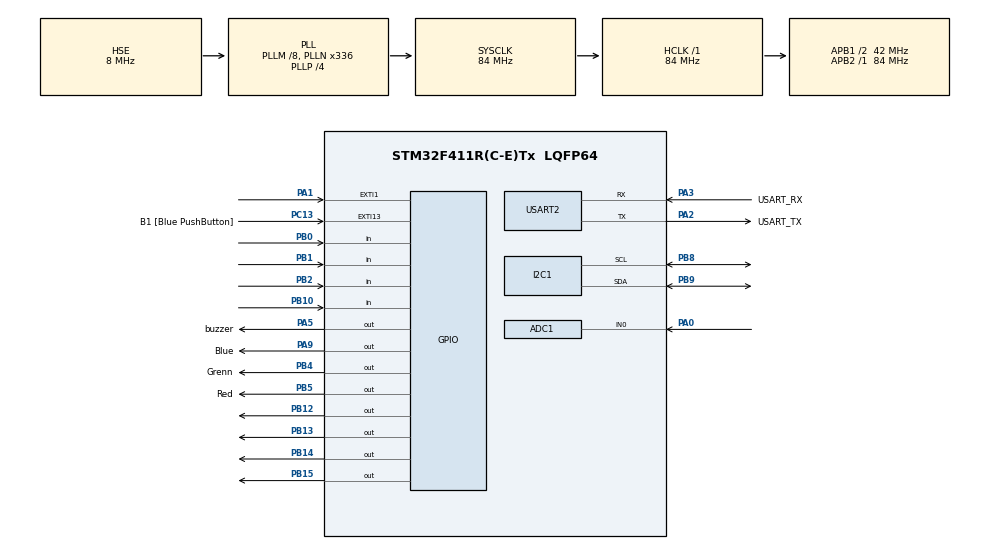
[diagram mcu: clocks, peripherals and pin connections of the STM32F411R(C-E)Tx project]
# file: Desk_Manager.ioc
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ADC1.Channel-0\#ChannelRegularConversion=ADC_CHANNEL_0
ADC1.NbrOfConversionFlag=1
ADC1.Rank-0\#ChannelRegularConversion=1
ADC1.SamplingTime-0\#ChannelRegularConversion=ADC_SAMPLETIME_3CYCLES
ADC1.master=1
FREERTOS.Mutexes01=lcdMutex,Dynamic,NULL,Available
FREERTOS.Tasks01=defaultTask,24,128,StartDefaultTask,Default,NULL,Dynamic,NULL,NULL;KeypadTask,8,128,StartTask02,Default,NULL,Dynamic,NULL,NULL;SensorTask,32,256,StartTask03,Default,NULL,Dynamic,NULL,NULL;TimerTask,40,128,StartTask04,Default,NULL,Dynamic,NULL,NULL;DisplayTask,8,256,StartTask05,Default,NULL,Dynamic,NULL,NULL;BuzzerTask,24,128,StartTask06,Default,NULL,Dynamic,NULL,NULL
FREERTOS.configUSE_NEWLIB_REENTRANT=1
Mcu.Family=STM32F4
Mcu.Name=STM32F411R(C-E)Tx
Mcu.Package=LQFP64
NVIC.EXTI1_IRQn=true\:5\:0\:false\:false\:true\:true\:true\:true\:true
NVIC.PriorityGroup=NVIC_PRIORITYGROUP_4
NVIC.TIM2_IRQn=true\:5\:0\:false\:false\:true\:true\:true\:true\:true
PA0-WKUP.Signal=ADCx_IN0
PA1.GPIO_ModeDefaultEXTI=GPIO_MODE_IT_FALLING
PA1.GPIO_PuPd=GPIO_PULLUP
PA1.Signal=GPXTI1
PA13.GPIO_Label=TMS
PA13.Mode=Serial_Wire
PA13.Signal=SYS_JTMS-SWDIO
PA14.GPIO_Label=TCK
PA14.Mode=Serial_Wire
PA14.Signal=SYS_JTCK-SWCLK
PA2.GPIO_Label=USART_TX
PA2.Mode=Asynchronous
PA2.Signal=USART2_TX
PA3.GPIO_Label=USART_RX
PA3.Mode=Asynchronous
PA3.Signal=USART2_RX
PA5.GPIO_Label=buzzer
PA5.Signal=GPIO_Output
PA9.GPIO_Label=Blue
PA9.Signal=GPIO_Output
PB0.GPIO_PuPd=GPIO_PULLUP
PB0.Signal=GPIO_Input
PB1.GPIO_PuPd=GPIO_PULLUP
PB1.Signal=GPIO_Input
PB10.GPIO_PuPd=GPIO_PULLUP
PB10.Signal=GPIO_Input
PB12.Signal=GPIO_Output
PB13.Signal=GPIO_Output
PB14.Signal=GPIO_Output
PB15.Signal=GPIO_Output
PB2.GPIO_PuPd=GPIO_PULLUP
PB2.Signal=GPIO_Input
PB3.GPIO_Label=SWO
PB3.Signal=SYS_JTDO-SWO
PB4.GPIO_Label=Grenn
PB4.Signal=GPIO_Output
PB5.GPIO_Label=Red
PB5.Signal=GPIO_Output
PB8.GPIO_Pu=GPIO_PULLUP
PB8.Mode=I2C
PB8.Signal=I2C1_SCL
PB9.GPIO_Pu=GPIO_PULLUP
PB9.Mode=I2C
PB9.Signal=I2C1_SDA
PC13-ANTI_TAMP.GPIO_Label=B1 [Blue PushButton]
PC13-ANTI_TAMP.GPIO_ModeDefaultEXTI=GPIO_MODE_IT_FALLING
PC13-ANTI_TAMP.Signal=GPXTI13
PC14-OSC32_IN.Mode=LSE-External-Oscillator
PC14-OSC32_IN.Signal=RCC_OSC32_IN
PC15-OSC32_OUT.Mode=LSE-External-Oscillator
PC15-OSC32_OUT.Signal=RCC_OSC32_OUT
PH0\ -\ OSC_IN.Mode=HSE-External-Oscillator
PH0\ -\ OSC_IN.Signal=RCC_OSC_IN
PH1\ -\ OSC_OUT.Mode=HSE-External-Oscillator
PH1\ -\ OSC_OUT.Signal=RCC_OSC_OUT
ProjectManager.HeapSize=0x200
ProjectManager.StackSize=0x400
ProjectManager.TargetToolchain=STM32CubeIDE
RCC.48MHZClocksFreq_Value=84000000
RCC.AHBFreq_Value=84000000
RCC.APB1CLKDivider=RCC_HCLK_DIV2
RCC.APB1Freq_Value=42000000
RCC.APB1TimFreq_Value=84000000
RCC.APB2Freq_Value=84000000
RCC.APB2TimFreq_Value=84000000
RCC.CortexFreq_Value=84000000
RCC.FLatency-AdvancedSettings=FLASH_LATENCY_2
RCC.HCLKFreq_Value=84000000
RCC.HSE_VALUE=8000000
RCC.HSI_VALUE=16000000
RCC.PLLM=8
RCC.PLLN=336
RCC.PLLP=RCC_PLLP_DIV4
RCC.PLLSourceVirtual=RCC_PLLSOURCE_HSE
RCC.SYSCLKFreq_VALUE=84000000
RCC.SYSCLKSource=RCC_SYSCLKSOURCE_PLLCLK
RCC.VCOOutputFreq_Value=336000000
SH.ADCx_IN0.0=ADC1_IN0,IN0
TIM2.AutoReloadPreload=TIM_AUTORELOAD_PRELOAD_ENABLE
TIM2.ClockDivision=TIM_CLOCKDIVISION_DIV2
TIM2.Period=9999
TIM2.Prescaler=8399
USART2.VirtualMode=VM_ASYNC
VP_FREERTOS_VS_CMSIS_V2.Mode=CMSIS_V2
VP_TIM2_VS_ClockSourceINT.Mode=Internal
board=NUCLEO-F411RE

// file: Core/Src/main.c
/* USER CODE BEGIN Header */
/**
  ******************************************************************************
  * @file           : main.c
  * @brief          : Improved Desk Manager - Main program body
  * @description    : ??? ???, ?? ??, ?? ?? ??? ??? ?? ?? ???
  ******************************************************************************
  * @attention
  *
  * Copyright (c) 2025 STMicroelectronics.
  * All rights reserved.
  *
  * This software is licensed under terms that can be found in the LICENSE file
  * in the root directory of this software component.
  * If no LICENSE file comes with this software, it is provided AS-IS.
  *
  ******************************************************************************
  */
/* USER CODE END Header */
#include "main.h"
#include "cmsis_os.h"

/* USER CODE BEGIN Includes */
#include "lcd_i2c.h"
#include "keypad.h"
#include <stdio.h>
#include <string.h>
#include <stdbool.h>
#include "FreeRTOS.h"
#include "event_groups.h"
/* USER CODE END Includes */

/* USER CODE BEGIN PTD */
// ?? ?? ??
typedef enum {
    ERROR_NONE = 0,         // ?? ??
    ERROR_ADC_FAILED,       // ADC ?? ??
    ERROR_LCD_FAILED,       // LCD ?? ??
    ERROR_INVALID_PARAM     // ??? ?? ??
} error_code_t;

// ?????? ?? ??
typedef enum {
	APP_STATE_INIT,
    APP_STATE_STOPPED,
    APP_STATE_RUNNING,
    APP_STATE_PAUSED,
    APP_STATE_FINISHED,
	APP_STATE_BREAK_RUNNING,
	APP_STATE_BREAK_PAUSED
} AppState_t;

// ?? ?? ?? (State Machine)
typedef enum {
    BUZZER_OFF = 0,         // ?? ??
    BUZZER_BEEPING,         // ?? ??? ?? ?
    BUZZER_ALARMING         // ?? ??? ?? ?
} buzzer_state_t;
/* USER CODE END PTD */

/* USER CODE BEGIN PD */
// ?? ??
#define LIGHT_THRESHOLD         2000  // ?? ?? ? (???? ? ???? ??)
#define ADC_TIMEOUT_MS          100   // ADC ????
#define LIGHT_SAMPLE_COUNT      5     // ?? ???? ?? ?? ?

// ??? ??
#define DEFAULT_STUDY_TIME_S    10  // ?? ?? ?? (25?)
#define DEFAULT_BREAK_TIME_S    10
#define SECONDS_PER_MINUTE      60    // 1? = 60?
#define DEBOUNCE_TIME_MS        500   // ???? ?? ??

// ?? ??
#define BUZZER_BEEP_DURATION_MS   100   // ??? ?? ??
#define BUZZER_ALARM_ON_TIME_MS   200   // ?? ON ??
#define BUZZER_ALARM_OFF_TIME_MS  200   // ?? OFF ??

// LCD ??
#define LCD_UPDATE_INTERVAL_MS  1000  // LCD ???? ??
#define LCD_LINE_LENGTH         16    // LCD ?? ??
#define NOISE_ALERT_DURATION_MS 1000  // ?? ?? ??? ?? ??

// ??? ??
#define KEYPAD_DEBOUNCE_TIME_MS 200   // ??? ???? ?? ????

#define RED_PIN      GPIO_PIN_5
#define GREEN_PIN    GPIO_PIN_4
#define BLUE_PIN     GPIO_PIN_9

#define MAX_INPUT_DIGITS 4
/* USER CODE END PD */

/* USER CODE BEGIN PM */
#define MINUTES_FROM_SECONDS(s) ((s) / SECONDS_PER_MINUTE)
#define SECONDS_REMAINDER(s)    ((s) % SECONDS_PER_MINUTE)
/* USER CODE END PM */

ADC_HandleTypeDef hadc1;

I2C_HandleTypeDef hi2c1;

TIM_HandleTypeDef htim2;

UART_HandleTypeDef huart2;

/* Definitions for defaultTask */
osThreadId_t defaultTaskHandle;
const osThreadAttr_t defaultTask_attributes = {
  .name = "defaultTask",
  .stack_size = 128 * 4,
  .priority = (osPriority_t) osPriorityNormal,
};
/* Definitions for KeypadTask */
osThreadId_t KeypadTaskHandle;
const osThreadAttr_t KeypadTask_attributes = {
  .name = "KeypadTask",
  .stack_size = 128 * 4,
  .priority = (osPriority_t) osPriorityLow,
};
/* Definitions for SensorTask */
osThreadId_t SensorTaskHandle;
const osThreadAttr_t SensorTask_attributes = {
  .name = "SensorTask",
  .stack_size = 256 * 4,
  .priority = (osPriority_t) osPriorityAboveNormal,
};
/* Definitions for TimerTask */
osThreadId_t TimerTaskHandle;
const osThreadAttr_t TimerTask_attributes = {
  .name = "TimerTask",
  .stack_size = 128 * 4,
  .priority = (osPriority_t) osPriorityHigh,
};
/* Definitions for DisplayTask */
osThreadId_t DisplayTaskHandle;
const osThreadAttr_t DisplayTask_attributes = {
  .name = "DisplayTask",
  .stack_size = 256 * 4,
  .priority = (osPriority_t) osPriorityLow,
};
/* Definitions for BuzzerTask */
osThreadId_t BuzzerTaskHandle;
const osThreadAttr_t BuzzerTask_attributes = {
  .name = "BuzzerTask",
  .stack_size = 128 * 4,
  .priority = (osPriority_t) osPriorityNormal,
};
/* Definitions for lcdMutex */
osMutexId_t lcdMutexHandle;
const osMutexAttr_t lcdMutex_attributes = {
  .name = "lcdMutex"
};
/* USER CODE BEGIN PV */
// ?? ?? ??
// --- ?????? ?? ?? ---
static volatile AppState_t  g_app_state = APP_STATE_INIT;
static volatile uint32_t    g_countdown_seconds = DEFAULT_STUDY_TIME_S;
static volatile uint32_t    g_light_value = 0;
static volatile bool        g_noise_interrupt_flag = false;
static volatile error_code_t g_last_error = ERROR_NONE;

// --- ?? ?? ?? ---
static volatile buzzer_state_t g_buzzer_state = BUZZER_OFF;
static volatile uint32_t       g_buzzer_timer = 0;

// --- UI ???? ?? ---
static volatile uint32_t g_last_lcd_update_time = 0;
static volatile bool     g_force_lcd_update = true;
static volatile bool     g_showing_noise_alert = false;
static volatile uint32_t g_noise_alert_start_time = 0;
extern EventGroupHandle_t SoundAlertEventGate;
#define BIT_SOUND_ALERT (1 << 0)
static char time_input_buffer[MAX_INPUT_DIGITS + 1] = {0};
static uint8_t input_index = 0;
static bool is_setting_time = false;
uint32_t user_set_time_sec = 0;
/* USER CODE END PV */

void SystemClock_Config(void);
static void MX_GPIO_Init(void);
static void MX_USART2_UART_Init(void);
static void MX_ADC1_Init(void);
static void MX_I2C1_Init(void);
static void MX_TIM2_Init(void);
void StartDefaultTask(void *argument);
void StartTask02(void *argument);
void StartTask03(void *argument);
void StartTask04(void *argument);
void StartTask05(void *argument);
void StartTask06(void *argument);

/* USER CODE BEGIN PFP */
uint32_t read_sound_level(void);
static void App_Init(void);
static void Handle_Display(void);

// --- ??? ?? ??? ---
static void Timer_Start(void);
static void Timer_Stop(void);
static void Timer_PauseResume(void);
static void Timer_Finish(void);

// --- ?? ?? ---
static void Buzzer_On(void);
static void Buzzer_Off(void);

// --- ?????(UI) ---
static void Display_TimerInfo(void);
static void Display_StatusInfo(void);
static void Clear_LcdLine(uint8_t line);
static uint32_t ParseTimeInput(const char* buffer);
/* USER CODE END PFP */

int main(void)
{

  /* MCU Configuration--------------------------------------------------------*/

  /* Reset of all peripherals, Initializes the Flash interface and the Systick. */
  HAL_Init();

  /* Configure the system clock */
  SystemClock_Config();

  /* Initialize all configured peripherals */
  MX_GPIO_Init();
  MX_USART2_UART_Init();
  MX_ADC1_Init();
  MX_I2C1_Init();
  MX_TIM2_Init();
  /* USER CODE BEGIN 2 */
  App_Init();

  /* USER CODE END 2 */

  /* Init scheduler */
  osKernelInitialize();
  /* Create the mutex(es) */
  /* creation of lcdMutex */
  lcdMutexHandle = osMutexNew(&lcdMutex_attributes);

  /* Create the thread(s) */
  /* creation of defaultTask */
  defaultTaskHandle = osThreadNew(StartDefaultTask, NULL, &defaultTask_attributes);

  /* creation of KeypadTask */
  KeypadTaskHandle = osThreadNew(StartTask02, NULL, &KeypadTask_attributes);

  /* creation of SensorTask */
  SensorTaskHandle = osThreadNew(StartTask03, NULL, &SensorTask_attributes);

  /* creation of TimerTask */
  TimerTaskHandle = osThreadNew(StartTask04, NULL, &TimerTask_attributes);

  /* creation of DisplayTask */
  DisplayTaskHandle = osThreadNew(StartTask05, NULL, &DisplayTask_attributes);

  /* creation of BuzzerTask */
  BuzzerTaskHandle = osThreadNew(StartTask06, NULL, &BuzzerTask_attributes);

  /* USER CODE BEGIN RTOS_EVENTS */
  /* add events, ... */
  MX_FREERTOS_Init();
  /* USER CODE END RTOS_EVENTS */

  /* Start scheduler */
  osKernelStart();

  /* We should never get here as control is now taken by the scheduler */

  /* Infinite loop */
  /* USER CODE BEGIN WHILE */
  while (1)
  {
    /* USER CODE BEGIN 3 */

    /* USER CODE END 3 */
  }
    /* USER CODE END WHILE */

}

void SystemClock_Config(void)
{
  RCC_OscInitTypeDef RCC_OscInitStruct = {0};
  RCC_ClkInitTypeDef RCC_ClkInitStruct = {0};

  /** Configure the main internal regulator output voltage
  */
  __HAL_RCC_PWR_CLK_ENABLE();
  __HAL_PWR_VOLTAGESCALING_CONFIG(PWR_REGULATOR_VOLTAGE_SCALE1);

  /** Initializes the RCC Oscillators according to the specified parameters
  * in the RCC_OscInitTypeDef structure.
  */
  RCC_OscInitStruct.OscillatorType = RCC_OSCILLATORTYPE_HSE;
  RCC_OscInitStruct.HSEState = RCC_HSE_ON;
  RCC_OscInitStruct.PLL.PLLState = RCC_PLL_ON;
  RCC_OscInitStruct.PLL.PLLSource = RCC_PLLSOURCE_HSE;
  RCC_OscInitStruct.PLL.PLLM = 8;
  RCC_OscInitStruct.PLL.PLLN = 336;
  RCC_OscInitStruct.PLL.PLLP = RCC_PLLP_DIV4;
  RCC_OscInitStruct.PLL.PLLQ = 4;
  if (HAL_RCC_OscConfig(&RCC_OscInitStruct) != HAL_OK)
  {
    Error_Handler();
  }

  /** Initializes the CPU, AHB and APB buses clocks
  */
  RCC_ClkInitStruct.ClockType = RCC_CLOCKTYPE_HCLK|RCC_CLOCKTYPE_SYSCLK
                              |RCC_CLOCKTYPE_PCLK1|RCC_CLOCKTYPE_PCLK2;
  RCC_ClkInitStruct.SYSCLKSource = RCC_SYSCLKSOURCE_PLLCLK;
  RCC_ClkInitStruct.AHBCLKDivider = RCC_SYSCLK_DIV1;
  RCC_ClkInitStruct.APB1CLKDivider = RCC_HCLK_DIV2;
  RCC_ClkInitStruct.APB2CLKDivider = RCC_HCLK_DIV1;

  if (HAL_RCC_ClockConfig(&RCC_ClkInitStruct, FLASH_LATENCY_2) != HAL_OK)
  {
    Error_Handler();
  }
}

static void MX_ADC1_Init(void)
{

  ADC_ChannelConfTypeDef sConfig = {0};

  /** Configure the global features of the ADC (Clock, Resolution, Data Alignment and number of conversion)
  */
  hadc1.Instance = ADC1;
  hadc1.Init.ClockPrescaler = ADC_CLOCK_SYNC_PCLK_DIV4;
  hadc1.Init.Resolution = ADC_RESOLUTION_12B;
  hadc1.Init.ScanConvMode = DISABLE;
  hadc1.Init.ContinuousConvMode = DISABLE;
  hadc1.Init.DiscontinuousConvMode = DISABLE;
  hadc1.Init.ExternalTrigConvEdge = ADC_EXTERNALTRIGCONVEDGE_NONE;
  hadc1.Init.ExternalTrigConv = ADC_SOFTWARE_START;
  hadc1.Init.DataAlign = ADC_DATAALIGN_RIGHT;
  hadc1.Init.NbrOfConversion = 1;
  hadc1.Init.DMAContinuousRequests = DISABLE;
  hadc1.Init.EOCSelection = ADC_EOC_SINGLE_CONV;
  if (HAL_ADC_Init(&hadc1) != HAL_OK)
  {
    Error_Handler();
  }

  /** Configure for the selected ADC regular channel its corresponding rank in the sequencer and its sample time.
  */
  sConfig.Channel = ADC_CHANNEL_0;
  sConfig.Rank = 1;
  sConfig.SamplingTime = ADC_SAMPLETIME_3CYCLES;
  if (HAL_ADC_ConfigChannel(&hadc1, &sConfig) != HAL_OK)
  {
    Error_Handler();
  }

}

static void MX_I2C1_Init(void)
{

  hi2c1.Instance = I2C1;
  hi2c1.Init.ClockSpeed = 100000;
  hi2c1.Init.DutyCycle = I2C_DUTYCYCLE_2;
  hi2c1.Init.OwnAddress1 = 0;
  hi2c1.Init.AddressingMode = I2C_ADDRESSINGMODE_7BIT;
  hi2c1.Init.DualAddressMode = I2C_DUALADDRESS_DISABLE;
  hi2c1.Init.OwnAddress2 = 0;
  hi2c1.Init.GeneralCallMode = I2C_GENERALCALL_DISABLE;
  hi2c1.Init.NoStretchMode = I2C_NOSTRETCH_DISABLE;
  if (HAL_I2C_Init(&hi2c1) != HAL_OK)
  {
    Error_Handler();
  }

}

static void MX_TIM2_Init(void)
{

  TIM_ClockConfigTypeDef sClockSourceConfig = {0};
  TIM_MasterConfigTypeDef sMasterConfig = {0};

  htim2.Instance = TIM2;
  htim2.Init.Prescaler = 8399;
  htim2.Init.CounterMode = TIM_COUNTERMODE_UP;
  htim2.Init.Period = 9999;
  htim2.Init.ClockDivision = TIM_CLOCKDIVISION_DIV2;
  htim2.Init.AutoReloadPreload = TIM_AUTORELOAD_PRELOAD_ENABLE;
  if (HAL_TIM_Base_Init(&htim2) != HAL_OK)
  {
    Error_Handler();
  }
  sClockSourceConfig.ClockSource = TIM_CLOCKSOURCE_INTERNAL;
  if (HAL_TIM_ConfigClockSource(&htim2, &sClockSourceConfig) != HAL_OK)
  {
    Error_Handler();
  }
  sMasterConfig.MasterOutputTrigger = TIM_TRGO_RESET;
  sMasterConfig.MasterSlaveMode = TIM_MASTERSLAVEMODE_DISABLE;
  if (HAL_TIMEx_MasterConfigSynchronization(&htim2, &sMasterConfig) != HAL_OK)
  {
    Error_Handler();
  }

}

static void MX_USART2_UART_Init(void)
{

  huart2.Instance = USART2;
  huart2.Init.BaudRate = 115200;
  huart2.Init.WordLength = UART_WORDLENGTH_8B;
  huart2.Init.StopBits = UART_STOPBITS_1;
  huart2.Init.Parity = UART_PARITY_NONE;
  huart2.Init.Mode = UART_MODE_TX_RX;
  huart2.Init.HwFlowCtl = UART_HWCONTROL_NONE;
  huart2.Init.OverSampling = UART_OVERSAMPLING_16;
  if (HAL_UART_Init(&huart2) != HAL_OK)
  {
    Error_Handler();
  }

}

static void MX_GPIO_Init(void)
{
  GPIO_InitTypeDef GPIO_InitStruct = {0};

  /* GPIO Ports Clock Enable */
  __HAL_RCC_GPIOC_CLK_ENABLE();
  __HAL_RCC_GPIOH_CLK_ENABLE();
  __HAL_RCC_GPIOA_CLK_ENABLE();
  __HAL_RCC_GPIOB_CLK_ENABLE();

  /*Configure GPIO pin Output Level */
  HAL_GPIO_WritePin(GPIOA, buzzer_Pin|Blue_Pin, GPIO_PIN_RESET);

  /*Configure GPIO pin Output Level */
  HAL_GPIO_WritePin(GPIOB, GPIO_PIN_12|GPIO_PIN_13|GPIO_PIN_14|GPIO_PIN_15
                          |Grenn_Pin|Red_Pin, GPIO_PIN_RESET);

  /*Configure GPIO pin : B1_Pin */
  GPIO_InitStruct.Pin = B1_Pin;
  GPIO_InitStruct.Mode = GPIO_MODE_IT_FALLING;
  GPIO_InitStruct.Pull = GPIO_NOPULL;
  HAL_GPIO_Init(B1_GPIO_Port, &GPIO_InitStruct);

  /*Configure GPIO pin : PA1 */
  GPIO_InitStruct.Pin = GPIO_PIN_1;
  GPIO_InitStruct.Mode = GPIO_MODE_IT_FALLING;
  GPIO_InitStruct.Pull = GPIO_PULLUP;
  HAL_GPIO_Init(GPIOA, &GPIO_InitStruct);

  /*Configure GPIO pins : buzzer_Pin Blue_Pin */
  GPIO_InitStruct.Pin = buzzer_Pin|Blue_Pin;
  GPIO_InitStruct.Mode = GPIO_MODE_OUTPUT_PP;
  GPIO_InitStruct.Pull = GPIO_NOPULL;
  GPIO_InitStruct.Speed = GPIO_SPEED_FREQ_LOW;
  HAL_GPIO_Init(GPIOA, &GPIO_InitStruct);

  /*Configure GPIO pins : PB0 PB1 PB2 PB10 */
  GPIO_InitStruct.Pin = GPIO_PIN_0|GPIO_PIN_1|GPIO_PIN_2|GPIO_PIN_10;
  GPIO_InitStruct.Mode = GPIO_MODE_INPUT;
  GPIO_InitStruct.Pull = GPIO_PULLUP;
  HAL_GPIO_Init(GPIOB, &GPIO_InitStruct);

  /*Configure GPIO pins : PB12 PB13 PB14 PB15
                           Grenn_Pin Red_Pin */
  GPIO_InitStruct.Pin = GPIO_PIN_12|GPIO_PIN_13|GPIO_PIN_14|GPIO_PIN_15
                          |Grenn_Pin|Red_Pin;
  GPIO_InitStruct.Mode = GPIO_MODE_OUTPUT_PP;
  GPIO_InitStruct.Pull = GPIO_NOPULL;
  GPIO_InitStruct.Speed = GPIO_SPEED_FREQ_LOW;
  HAL_GPIO_Init(GPIOB, &GPIO_InitStruct);

  /* EXTI interrupt init*/
  HAL_NVIC_SetPriority(EXTI1_IRQn, 5, 0);
  HAL_NVIC_EnableIRQ(EXTI1_IRQn);

}

/* USER CODE BEGIN 4 */
static void App_Init(void) {
    HAL_UART_Transmit(&huart2, (uint8_t*)"Starting App_Init...\r\n", 22, 1000);

    // ??? ???
    Keypad_Init();
    HAL_UART_Transmit(&huart2, (uint8_t*)"Keypad initialized\r\n", 20, 1000);

    // ?? ???
    Buzzer_Off();
    HAL_UART_Transmit(&huart2, (uint8_t*)"Buzzer initialized\r\n", 20, 1000);

    // LCD ??? (? ?? ??? ??!)
	if (LCD_Init() != HAL_OK) {
    g_last_error = ERROR_LCD_FAILED;
    Error_Handler();
}
    HAL_UART_Transmit(&huart2, (uint8_t*)"LCD Init called\r\n", 17, 1000);

    LCD_Clear();
    LCD_SetCursor(0, 0);
    LCD_Print("Desk Manager");
    LCD_SetCursor(1, 0);
    LCD_Print("Ready to Start!");
    HAL_UART_Transmit(&huart2, (uint8_t*)"LCD display set\r\n", 17, 1000);

    g_last_lcd_update_time = HAL_GetTick();
    HAL_UART_Transmit(&huart2, (uint8_t*)"System Initialized\r\n", 20, 1000);
}

//==============================================================================
// ??? ?? (Timer Logic)
//==============================================================================
static void Timer_Start(void) {
    if (g_app_state == APP_STATE_INIT ||
        g_app_state == APP_STATE_STOPPED ||
        g_app_state == APP_STATE_FINISHED ||
        g_app_state == APP_STATE_BREAK_RUNNING) {

        g_app_state = (g_app_state == APP_STATE_BREAK_RUNNING) ? APP_STATE_RUNNING : APP_STATE_RUNNING;
        g_countdown_seconds = user_set_time_sec;
        g_buzzer_state = BUZZER_OFF;
        Buzzer_Off();
        g_force_lcd_update = true;
    }
}

static void Timer_Stop(void) {
    g_app_state = APP_STATE_STOPPED;
    g_countdown_seconds = DEFAULT_STUDY_TIME_S;
    g_buzzer_state = BUZZER_OFF;
    Buzzer_Off();
}

static void Timer_PauseResume(void) {
	if (g_app_state == APP_STATE_RUNNING) {
	        g_app_state = APP_STATE_PAUSED;
	    }
	    else if (g_app_state == APP_STATE_PAUSED) {
	        g_app_state = APP_STATE_RUNNING;
	    }
	    else if (g_app_state == APP_STATE_BREAK_RUNNING) {   // ✅ Break도 일시정지
	        g_app_state = APP_STATE_BREAK_PAUSED;
	    }
	    else if (g_app_state == APP_STATE_BREAK_PAUSED) {    // ✅ Break 재개
	        g_app_state = APP_STATE_BREAK_RUNNING;
	    }
	}

static void Timer_Finish(void) {
	if (g_app_state == APP_STATE_RUNNING) {
	        g_app_state = APP_STATE_BREAK_RUNNING;
	        g_countdown_seconds = DEFAULT_BREAK_TIME_S;
	    }
	    else if (g_app_state == APP_STATE_BREAK_RUNNING) {
	        g_app_state = APP_STATE_RUNNING;
	        g_countdown_seconds = DEFAULT_STUDY_TIME_S;
	    }
	xEventGroupSetBits(SoundAlertEventGate, BIT_SOUND_ALERT);
    g_force_lcd_update = true;
}

//==============================================================================
// ?? ? ??? ?? (Sensor & Event Handler)
//==============================================================================
//==============================================================================
// ?? ? ??? ?? (Sensor & Event Handler)
//==============================================================================
static uint32_t Read_Light_Sensor_Average(void) {
    uint32_t total = 0;
    uint32_t valid_samples = 0;

   	ADC_ChannelConfTypeDef sConfig = {0};
    sConfig.Channel = ADC_CHANNEL_0;  // ?? ?? ??
    sConfig.Rank = 1;
    sConfig.SamplingTime = ADC_SAMPLETIME_15CYCLES;
    HAL_ADC_ConfigChannel(&hadc1, &sConfig);

    for (int i = 0; i < LIGHT_SAMPLE_COUNT; i++) {
        if (HAL_ADC_Start(&hadc1) == HAL_OK) {
            if (HAL_ADC_PollForConversion(&hadc1, ADC_TIMEOUT_MS) == HAL_OK) {
                total += HAL_ADC_GetValue(&hadc1);
                valid_samples++;
            }
            HAL_ADC_Stop(&hadc1);
        }
        HAL_Delay(5); // ?? ? ?? ??
    }

    return (valid_samples > 0) ? (total / valid_samples) : 0;
}

//==============================================================================
// ?? ?? (Buzzer Handler & Control)
//==============================================================================
static void Buzzer_On(void)  { HAL_GPIO_WritePin(GPIOA, GPIO_PIN_5, GPIO_PIN_SET); }
static void Buzzer_Off(void) { HAL_GPIO_WritePin(GPIOA, GPIO_PIN_5, GPIO_PIN_RESET); }

//==============================================================================
// ????? ?? (Display Handler & UI)
//==============================================================================
static void Handle_Display(void) {
    uint32_t current_time = HAL_GetTick();

    // ?? ?? ??? ?? ?? ? ?? ??
    if (g_showing_noise_alert && (current_time - g_noise_alert_start_time >= NOISE_ALERT_DURATION_MS)) {
        g_showing_noise_alert = false;
        g_force_lcd_update = true; // ?? ???? ??
    }

    // LCD ???? ?? ??
    if (!g_force_lcd_update && (current_time - g_last_lcd_update_time < LCD_UPDATE_INTERVAL_MS)) {
        return;
    }

    // ?? ????
    Display_TimerInfo(); // ? ?? ??? ??? ?? ??

    if (g_last_error == ERROR_ADC_FAILED) {
        LCD_SetCursor(1, 0);
        LCD_Print("Sensor Error!   ");
    } else if (g_showing_noise_alert) {
        LCD_SetCursor(1, 0);
        LCD_Print("Noise Alert!    ");
			  Buzzer_On();
        HAL_Delay(300);  // 0.3? ??
        Buzzer_Off();
    } else {
        Display_StatusInfo(); // ? ?? ??? ?? ??
    }

    g_last_lcd_update_time = current_time;
    g_force_lcd_update = false;
}

static void Display_TimerInfo(void) {
    char buffer[LCD_LINE_LENGTH + 1];
    uint32_t min = MINUTES_FROM_SECONDS(g_countdown_seconds);
    uint32_t sec = SECONDS_REMAINDER(g_countdown_seconds);

    switch(g_app_state) {
        case APP_STATE_RUNNING:
            snprintf(buffer, sizeof(buffer), "Study: %02lu:%02lu    ", (unsigned long)min, (unsigned long)sec);
            break;
        case APP_STATE_PAUSED:
            snprintf(buffer, sizeof(buffer), "Pause: %02lu:%02lu    ", (unsigned long)min, (unsigned long)sec);
            break;
        case APP_STATE_FINISHED:
            snprintf(buffer, sizeof(buffer), "Time's Up!      ");
            break;
        case APP_STATE_BREAK_RUNNING:
                    snprintf(buffer, sizeof(buffer), "== Break Time!==  ");  // ✅ 상단 표시
                    break;
        case APP_STATE_BREAK_PAUSED:
        	        snprintf(buffer, sizeof(buffer), "== Break Time!==  ");
                    break;
        case APP_STATE_STOPPED:
        case APP_STATE_INIT:
        default:
            snprintf(buffer, sizeof(buffer), "Ready to study  ");
            break;
    }
    LCD_SetCursor(0, 0);
    LCD_Print(buffer);
}

static void Display_StatusInfo(void) {
    char buffer[LCD_LINE_LENGTH + 1];

    if (is_setting_time) {
        LCD_SetCursor(0, 0);
        LCD_Print("Set Study Time");
        LCD_SetCursor(1, 0);
        char buffer[LCD_LINE_LENGTH + 1];
        snprintf(buffer, sizeof(buffer), "Set: %s", time_input_buffer);
        LCD_Print(buffer);
        return;  // 꼭 리턴!
    }
    if (g_app_state == APP_STATE_INIT) {
            LCD_SetCursor(0, 0);
            LCD_Print("Desk Manager     ");  // 라인 0
            LCD_SetCursor(1, 0);
            LCD_Print("Ready to Start!  ");  // 라인 1
            return;
        }

    if (g_app_state == APP_STATE_FINISHED) {
            snprintf(buffer, sizeof(buffer), "Press D to stop ");
        } else if (g_app_state == APP_STATE_STOPPED) {
            snprintf(buffer, sizeof(buffer), "Press A to start");
        } else if (g_app_state == APP_STATE_BREAK_RUNNING) {
            uint32_t min = MINUTES_FROM_SECONDS(g_countdown_seconds);
            uint32_t sec = SECONDS_REMAINDER(g_countdown_seconds);
            snprintf(buffer, sizeof(buffer), "Break: %02lu:%02lu    ", min, sec);
        } else if (g_app_state == APP_STATE_BREAK_PAUSED) {
            uint32_t min = MINUTES_FROM_SECONDS(g_countdown_seconds);
            uint32_t sec = SECONDS_REMAINDER(g_countdown_seconds);
            snprintf(buffer, sizeof(buffer), "BrkPause: %02lu:%02lu    ", min, sec);
        }
        else {
            if (g_light_value < LIGHT_THRESHOLD) {
                snprintf(buffer, sizeof(buffer), "Light: Too Dark!");
                RGB_SetColor(true, true, true);  // 예시: 조도 낮으면 RGB 모두 ON
            } else {
                snprintf(buffer, sizeof(buffer), "Light: OK (%4lu)", (g_light_value > 9999 ? 9999 : g_light_value));
                RGB_SetColor(false, false, false);  // 밝을 때는 꺼짐
            }
        }

    LCD_SetCursor(1, 0);
    LCD_Print(buffer);
}

static void Clear_LcdLine(uint8_t line) {
    LCD_SetCursor(line, 0);
    LCD_Print("                ");
}

//==============================================================================
// HAL ?? ?? (Callback Functions)
//==============================================================================

void HAL_GPIO_EXTI_Callback(uint16_t GPIO_Pin) {
	BaseType_t xHigherPriorityTaskWoken = pdFALSE;

	    if (GPIO_Pin == GPIO_PIN_1) { // 사운드센서 DO 핀
	        // 디바운스 처리 (선택적)
	    	static uint32_t last_interrupt_time = 0;
	    	        uint32_t current_time = HAL_GetTick();

	    	        if (current_time - last_interrupt_time < DEBOUNCE_TIME_MS) {
	    	            return;
	    	        }
	    	        last_interrupt_time = current_time;

	    	        g_showing_noise_alert = true;
	    	                g_noise_alert_start_time = current_time;
	    	                g_force_lcd_update = true;

	    	        // FreeRTOS 이벤트 그룹에 소리 감지 이벤트 전달
	    	        if (HAL_GPIO_ReadPin(GPIOA, GPIO_PIN_1) == GPIO_PIN_SET) {
	    	                    BaseType_t xHigherPriorityTaskWoken = pdFALSE;
	    	                    xEventGroupSetBitsFromISR(SoundAlertEventGate, BIT_SOUND_ALERT, &xHigherPriorityTaskWoken);
	    	                    portYIELD_FROM_ISR(xHigherPriorityTaskWoken);
	    	                }
	    	    }
	    	}

uint32_t read_sound_level(void) {
  ADC_ChannelConfTypeDef sConfig = {0};

  sConfig.Channel = ADC_CHANNEL_1;  // PA1 = ADC1_IN1
  sConfig.Rank = 1;
  sConfig.SamplingTime = ADC_SAMPLETIME_15CYCLES;
  HAL_ADC_ConfigChannel(&hadc1, &sConfig);

  HAL_ADC_Start(&hadc1);
  if (HAL_ADC_PollForConversion(&hadc1, 50) == HAL_OK) {
    uint32_t sound_val = HAL_ADC_GetValue(&hadc1);
    HAL_ADC_Stop(&hadc1);
    return sound_val;
  }
  HAL_ADC_Stop(&hadc1);
  return 0;
}
void RGB_SetColor(bool red, bool green, bool blue) {
    HAL_GPIO_WritePin(GPIOB, GPIO_PIN_5, red ? GPIO_PIN_SET : GPIO_PIN_RESET);  // Red
    HAL_GPIO_WritePin(GPIOB, GPIO_PIN_4, green ? GPIO_PIN_SET : GPIO_PIN_RESET); // Green
    HAL_GPIO_WritePin(GPIOA, GPIO_PIN_9, blue ? GPIO_PIN_SET : GPIO_PIN_RESET);  // Blue
}
static uint32_t ParseTimeInput(const char* buffer) {
	int input_time = atoi(buffer);  // MMSS 가정
	    int minutes = input_time / 100;
	    int seconds = input_time % 100;

    if (strlen(buffer) == 4 &&
        buffer[0] >= '0' && buffer[0] <= '9' &&
        buffer[1] >= '0' && buffer[1] <= '9' &&
        buffer[2] >= '0' && buffer[2] <= '9' &&
        buffer[3] >= '0' && buffer[3] <= '9') {

        minutes = (buffer[0] - '0') * 10 + (buffer[1] - '0');
        seconds = (buffer[2] - '0') * 10 + (buffer[3] - '0');

        if (seconds < 60) {
                user_set_time_sec = (minutes * 60) + seconds;
            } else {
                user_set_time_sec = DEFAULT_STUDY_TIME_S;
            }
    }

    return 0;  // 유효하지 않은 입력
}
/* USER CODE END 4 */

void StartDefaultTask(void *argument)
{
  for(;;)
  {
    osDelay(1);
  }
}

void StartTask02(void *argument)
{
  /* USER CODE BEGIN StartTask02 */
  /* Infinite loop */
  for(;;)
  {
	  char key = Keypad_Read();
	      if (key != 0) {

	        if (key >= '0' && key <= '9') {
	          if (input_index < MAX_INPUT_DIGITS) {
	            time_input_buffer[input_index++] = key;
	            time_input_buffer[input_index] = '\0';
	            is_setting_time = true;
	          }
	        }
	        else if (key == '#') {
	          input_index = 0;
	          time_input_buffer[0] = '\0';
	          is_setting_time = false;
	        }
	        else if (key == 'A') {
	            if (is_setting_time && input_index > 0) {
	                uint32_t parsed_time = ParseTimeInput(time_input_buffer);

	                if (user_set_time_sec > 0 && user_set_time_sec < 3600) {
	                    g_countdown_seconds = user_set_time_sec;
	                } else {
	                    g_countdown_seconds = DEFAULT_STUDY_TIME_S;
	                }

	                is_setting_time = false;
	                input_index = 0;
	                time_input_buffer[0] = '\0';
	            } else {
	                g_countdown_seconds = DEFAULT_STUDY_TIME_S;
	                user_set_time_sec = DEFAULT_STUDY_TIME_S;
	            }

	            Timer_Start();
	        }
	        else if (key == 'B') {
	          Timer_Stop();
	        }
	        else if (key == 'C') {
	          Timer_PauseResume();
	        }
	        else if (key == 'D') {
	          if (g_app_state == APP_STATE_FINISHED) Timer_Stop();
	        }

	        g_force_lcd_update = true;
	      }

	      osDelay(KEYPAD_DEBOUNCE_TIME_MS);
	    }
  /* USER CODE END StartTask02 */
}

void StartTask03(void *argument)
{
  /* USER CODE BEGIN StartTask03 */
  /* Infinite loop */
  for(;;)
  {
	  uint32_t light = Read_Light_Sensor_Average();
	      g_light_value = light;

	      osDelay(200);

  }
  /* USER CODE END StartTask03 */
}

void StartTask04(void *argument)
{
  /* USER CODE BEGIN StartTask04 */
  /* Infinite loop */
  for(;;)
  {
	  if ((g_app_state == APP_STATE_RUNNING || g_app_state == APP_STATE_BREAK_RUNNING) && g_countdown_seconds > 0) {
	      g_countdown_seconds--;
	      if (g_countdown_seconds == 0) {
	          Timer_Finish();
	      }
	  }
	      osDelay(1000);
  }
  /* USER CODE END StartTask04 */
}

void StartTask05(void *argument)
{
  /* USER CODE BEGIN StartTask05 */
  /* Infinite loop */
  for(;;)
  {
	  Handle_Display();  // 기존에 작성한 LCD 출력 함수 재활용
	      osDelay(LCD_UPDATE_INTERVAL_MS);
  }
  /* USER CODE END StartTask05 */
}

void StartTask06(void *argument)
{
  /* USER CODE BEGIN StartTask06 */
  /* Infinite loop */
  for(;;)
  {
	  // 1. 사운드 이벤트 수신 → 짧게 삑!
	      EventBits_t flags = xEventGroupWaitBits(
	          SoundAlertEventGate,
	          BIT_SOUND_ALERT,
	          pdTRUE,      // clear on exit
	          pdFALSE,     // wait for any bit
			  portMAX_DELAY);          // non-blocking check

	      if (flags & BIT_SOUND_ALERT) {
	        Buzzer_On();
	        osDelay(300);
	        Buzzer_Off();
	      }

	      // 2. 타이머 종료 상태 → 반복 알람
	      if (g_buzzer_state == BUZZER_ALARMING) {
	        Buzzer_On();
	        osDelay(BUZZER_ALARM_ON_TIME_MS);
	        Buzzer_Off();
	        osDelay(BUZZER_ALARM_OFF_TIME_MS);
	      }
	      else {
	        // 상태가 OFF이거나 BEEPING이면 짧은 대기 후 다음 루프
	        osDelay(50);
	      }
  }
  /* USER CODE END StartTask06 */
}

void Error_Handler(void)
{
  /* USER CODE BEGIN Error_Handler_Debug */
  /* ?? ?? ? ?? ????? ?????? ?? ?? ?? */
  __disable_irq();
  while (1)
  {
    // ?? ??? LED ?? ?? ?? ?? ?? ?? ??
  }
  /* USER CODE END Error_Handler_Debug */
}
#ifdef USE_FULL_ASSERT
/**
  * @brief  Reports the name of the source file and the source line number
  *         where the assert_param error has occurred.
  * @param  file: pointer to the source file name
  * @param  line: assert_param error line source number
  * @retval None
  */
void assert_failed(uint8_t *file, uint32_t line)
{
  /* USER CODE BEGIN 6 */
  /* ??? ?? assert ?? ? ??? ??? ?? ?? ?? */
  /* printf("Wrong parameters value: file %s on line %d\r\n", file, line) */
  /* USER CODE END 6 */
}
#endif /* USE_FULL_ASSERT */

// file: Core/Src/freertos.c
/* USER CODE BEGIN Header */
/**
  ******************************************************************************
  * File Name          : freertos.c
  * Description        : Code for freertos applications
  ******************************************************************************
  * @attention
  *
  * Copyright (c) 2025 STMicroelectronics.
  * All rights reserved.
  *
  * This software is licensed under terms that can be found in the LICENSE file
  * in the root directory of this software component.
  * If no LICENSE file comes with this software, it is provided AS-IS.
  *
  ******************************************************************************
  */
/* USER CODE END Header */

#include "FreeRTOS.h"
#include "task.h"
#include "main.h"

/* USER CODE BEGIN Includes */
#include "event_groups.h"
/* USER CODE END Includes */

/* USER CODE BEGIN PTD */
EventGroupHandle_t SoundAlertEventGate;
/* USER CODE END PTD */

/* USER CODE BEGIN PD */
extern void StartTask02(void *argument);  // 키패드 Task
extern void StartTask03(void *argument);  // 센서 Task
extern void StartTask04(void *argument);  // 디스플레이 Task
extern void StartTask05(void *argument);  // 타이머 Task
extern void StartTask06(void *argument);  // 부저 Task

/* USER CODE END PD */

/* USER CODE BEGIN PM */
void MX_FREERTOS_Init(void) {
    // 1. RTOS 자원 준비
    SoundAlertEventGate = xEventGroupCreate();

    // 2. Task들 등록

}
/* USER CODE END PM */
